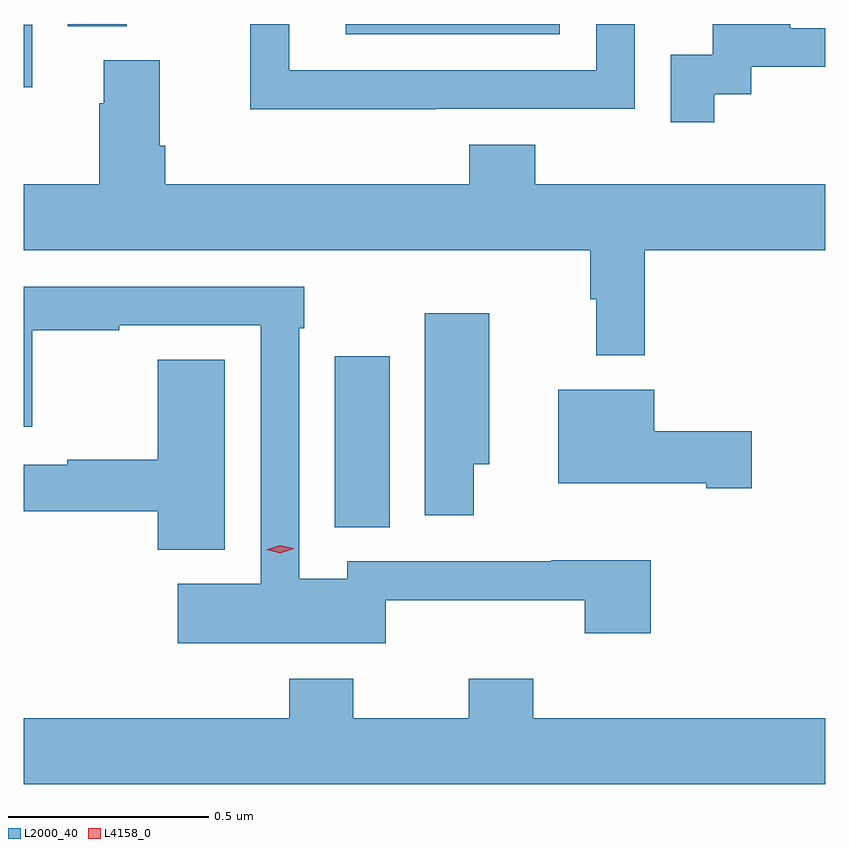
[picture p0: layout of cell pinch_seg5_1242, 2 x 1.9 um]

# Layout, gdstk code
import gdstk
lib = gdstk.Library(unit=1e-6, precision=1e-09)
def R(c, l, rs):  # rectangles x0, y0, x1, y1
    for r in rs: c.add(gdstk.rectangle(r[:2], r[2:], *l))
def P(c, l, *ps):  # polygons
    for p in ps: c.add(gdstk.Polygon(p, *l))
L2000_40 = (2000, 40)
L4158_0 = (4158, 0)

pinch_seg5_1242 = lib.new_cell('pinch_seg5_1242')
R(pinch_seg5_1242, L2000_40, [(514.121,905.353,514.258,905.779), (513.345,906.45,513.367,906.606), (514.149,906.582,514.683,906.608), (513.455,906.602,513.602,906.608)])
P(pinch_seg5_1242, L2000_40, [(515.068,906.433),(515.16,906.433),(515.16,906.501),(515.345,906.501),(515.345,906.597),(515.257,906.597),(515.257,906.608),(515.064,906.608),(515.064,906.531),(514.959,906.531),(514.959,906.363),(515.068,906.363)],
  [(514.373,906.396),(514.869,906.396),(514.869,906.608),(514.773,906.608),(514.773,906.492),(514.008,906.492),(514.008,906.608),(513.91,906.608),(513.91,906.395),(514.373,906.395)],
  [(513.685,906.304),(513.685,906.517),(513.545,906.517),(513.545,906.41),(513.533,906.41),(513.533,906.208),(513.345,906.208),(513.345,906.044),(514.759,906.044),(514.759,905.921),(514.774,905.921),(514.774,905.781),(514.895,905.781),(514.895,906.044),(515.345,906.044),(515.345,906.208),(514.621,906.208),(514.621,906.307),(514.457,906.307),(514.457,906.208),(513.698,906.208),(513.698,906.304)],
  [(514.248,905.171),(514.745,905.171),(514.745,905.088),(514.91,905.088),(514.91,905.27),(514.661,905.27),(514.661,905.268),(514.152,905.268),(514.152,905.224),(514.032,905.224),(514.032,905.849),(514.045,905.849),(514.045,905.952),(513.345,905.952),(513.345,905.603),(513.366,905.603),(513.366,905.844),(513.584,905.844),(513.584,905.856),(513.936,905.856),(513.936,905.212),(513.729,905.212),(513.729,905.063),(514.248,905.063)],
  [(514.468,905.51),(514.507,905.51),(514.507,905.887),(514.346,905.887),(514.346,905.382),(514.468,905.382)],
  [(513.847,905.771),(513.68,905.771),(513.68,905.521),(513.454,905.521),(513.454,905.508),(513.345,905.508),(513.345,905.392),(513.68,905.392),(513.68,905.297),(513.847,905.297)],
  [(515.161,905.592),(514.918,905.592),(514.918,905.695),(514.679,905.695),(514.679,905.462),(515.048,905.462),(515.048,905.45),(515.161,905.45)],
  [(515.345,904.876),(514.616,904.876),(514.616,904.975),(514.456,904.975),(514.456,904.876),(514.167,904.876),(514.167,904.975),(514.007,904.975),(514.007,904.876),(513.345,904.876),(513.345,904.712),(515.345,904.712)])
P(pinch_seg5_1242, L4158_0, [(513.985,905.288),(513.95,905.297),(513.95,905.297),(513.95,905.297),(513.984,905.308),(514.019,905.3),(514.019,905.299),(514.019,905.299)])

lib.write_gds('pinch_seg5_1242.gds')
